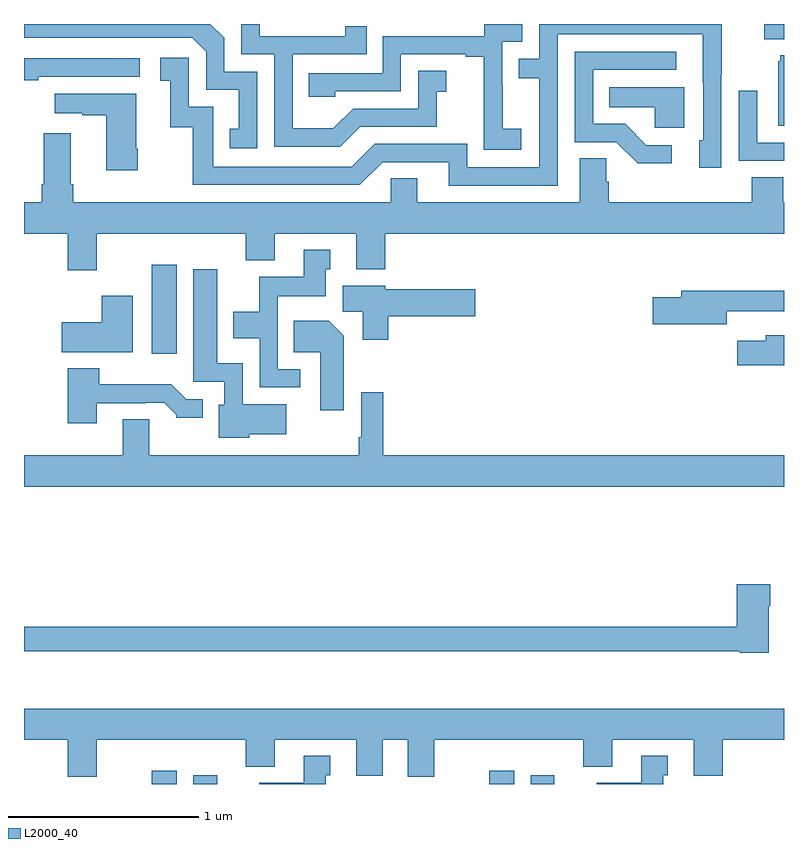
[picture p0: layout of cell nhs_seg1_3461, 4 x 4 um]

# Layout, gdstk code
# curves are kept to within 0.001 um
import gdstk
lib = gdstk.Library(unit=1e-6, precision=1e-09)
def R(c, l, rs):  # rectangles x0, y0, x1, y1
    for r in rs: c.add(gdstk.rectangle(r[:2], r[2:], *l))
def P(c, l, *ps):  # polygons
    for p in ps: c.add(gdstk.Polygon(p, *l))
L2000_40 = (2000, 40)

nhs_seg1_3461 = lib.new_cell('nhs_seg1_3461')
R(nhs_seg1_3461, L2000_40, [(299.672,518.199,299.803,518.269), (299.891,518.199,300.016,518.245), (301.448,518.199,301.579,518.269), (301.667,518.199,301.792,518.245), (299.672,520.464,299.803,520.933), (302.897,522.119,303,522.199)])
P(nhs_seg1_3461, L2000_40, [(301.618,521.647),(301.52,521.647),(301.52,521.876),(301.518,521.876),(301.518,522.105),(301.623,522.105),(301.623,522.199),(301.422,522.199),(301.422,522.135),(300.888,522.135),(300.888,521.94),(300.499,521.94),(300.499,521.817),(300.639,521.817),(300.639,521.844),(300.984,521.844),(300.984,522.039),(301.325,522.039),(301.325,522.027),(301.421,522.027),(301.421,521.743),(301.42,521.743),(301.42,521.537),(301.618,521.537)],
  [(301.809,522.144),(302.573,522.144),(302.574,521.586),(302.555,521.586),(302.555,521.442),(302.67,521.442),(302.67,521.935),(302.673,521.935),(302.673,522.199),(301.713,522.199),(301.713,522.015),(301.603,522.015),(301.603,521.914),(301.713,521.914),(301.713,521.445),(301.332,521.445),(301.332,521.568),(300.846,521.568),(300.726,521.448),(299.997,521.448),(299.997,521.763),(299.868,521.763),(299.868,522.022),(299.718,522.022),(299.718,521.901),(299.771,521.901),(299.771,521.655),(299.889,521.655),(299.889,521.352),(300.768,521.352),(300.888,521.472),(301.235,521.472),(301.235,521.349),(301.809,521.349)],
  [(300.228,521.949),(300.054,521.949),(300.054,522.126),(299.981,522.199),(299,522.199),(299,522.126),(299.886,522.126),(299.958,522.054),(299.958,521.853),(300.131,521.853),(300.131,521.649),(300.082,521.649),(300.082,521.544),(300.228,521.544)],
  [(300.769,521.658),(301.173,521.658),(301.173,521.843),(301.222,521.843),(301.222,521.953),(301.074,521.953),(301.074,521.754),(300.732,521.754),(300.628,521.65),(300.414,521.65),(300.414,522.039),(300.803,522.039),(300.803,522.187),(300.692,522.187),(300.692,522.135),(300.241,522.135),(300.241,522.199),(300.144,522.199),(300.144,522.039),(300.318,522.039),(300.318,521.553),(300.664,521.553)],
  [(302.41,521.562),(302.275,521.562),(302.164,521.673),(301.995,521.673),(301.995,521.958),(302.434,521.958),(302.434,522.054),(301.899,522.054),(301.899,521.577),(302.118,521.577),(302.231,521.465),(302.41,521.465)],
  [(303,522.034),(302.981,522.034),(302.981,522.003),(302.969,522.003),(302.969,521.663),(303,521.663)],
  [(299.075,521.922),(299.608,521.922),(299.608,522.018),(299,522.018),(299,521.902),(299.075,521.902)],
  [(302.476,521.866),(302.08,521.866),(302.08,521.762),(302.319,521.762),(302.319,521.654),(302.476,521.654)],
  [(303,521.574),(302.859,521.574),(302.859,521.847),(302.763,521.847),(302.763,521.478),(303,521.478)],
  [(299.598,521.542),(299.59,521.542),(299.59,521.833),(299.163,521.833),(299.163,521.729),(299.306,521.729),(299.306,521.719),(299.432,521.719),(299.432,521.43),(299.598,521.43)],
  [(299.383,521.096),(300.167,521.096),(300.167,520.955),(300.319,520.955),(300.319,521.096),(300.749,521.096),(300.749,520.907),(300.902,520.907),(300.902,521.096),(303,521.096),(303,521.26),(302.996,521.26),(302.996,521.393),(302.831,521.393),(302.831,521.26),(302.078,521.26),(302.078,521.369),(302.064,521.369),(302.064,521.492),(301.925,521.492),(301.925,521.26),(301.069,521.26),(301.069,521.387),(300.93,521.387),(300.93,521.26),(299.258,521.26),(299.258,521.356),(299.245,521.356),(299.245,521.623),(299.105,521.623),(299.105,521.356),(299.093,521.356),(299.093,521.26),(299,521.26),(299,521.096),(299.231,521.096),(299.231,520.902),(299.383,520.902)],
  [(300.454,520.383),(300.336,520.383),(300.336,520.766),(300.589,520.766),(300.589,520.908),(300.613,520.908),(300.613,521.011),(300.473,521.011),(300.473,520.87),(300.238,520.87),(300.238,520.684),(300.101,520.684),(300.101,520.544),(300.24,520.544),(300.24,520.287),(300.454,520.287)],
  [(300.186,520.04),(300.379,520.04),(300.379,520.198),(300.15,520.198),(300.15,520.414),(300.016,520.414),(300.016,520.909),(299.891,520.909),(299.891,520.317),(300.054,520.317),(300.054,520.194),(300.026,520.194),(300.026,520.022),(300.186,520.022)],
  [(300.917,520.661),(301.375,520.661),(301.375,520.803),(300.9,520.803),(300.9,520.822),(300.677,520.822),(300.677,520.684),(300.782,520.684),(300.782,520.536),(300.917,520.536)],
  [(302.698,520.686),(303,520.686),(303,520.795),(302.459,520.795),(302.459,520.761),(302.31,520.761),(302.31,520.619),(302.698,520.619)],
  [(299.572,520.77),(299.408,520.77),(299.408,520.63),(299.199,520.63),(299.199,520.472),(299.572,520.472)],
  [(300.682,520.558),(300.604,520.636),(300.421,520.636),(300.421,520.472),(300.56,520.472),(300.56,520.167),(300.682,520.167)],
  [(303,520.56),(302.903,520.56),(302.903,520.531),(302.754,520.531),(302.754,520.402),(303,520.402)],
  [(299.383,520.203),(299.639,520.203),(299.639,520.206),(299.738,520.206),(299.802,520.142),(299.802,520.127),(299.941,520.127),(299.941,520.224),(299.853,520.224),(299.775,520.303),(299.396,520.303),(299.396,520.387),(299.231,520.387),(299.231,520.097),(299.383,520.097)],
  [(303,519.928),(300.89,519.928),(300.89,520.261),(300.774,520.261),(300.774,520.024),(300.762,520.024),(300.762,519.928),(299.659,519.928),(299.659,520.118),(299.519,520.118),(299.519,519.928),(299,519.928),(299,519.764),(303,519.764)],
  [(302.92,519.137),(302.928,519.137),(302.928,519.25),(302.75,519.25),(302.75,519.026),(299,519.026),(299,518.898),(302.766,518.898),(302.766,518.89),(302.92,518.89)],
  [(299.383,518.432),(300.167,518.432),(300.167,518.291),(300.319,518.291),(300.319,518.432),(300.749,518.432),(300.749,518.243),(300.889,518.243),(300.889,518.432),(301.019,518.432),(301.019,518.238),(301.159,518.238),(301.159,518.432),(301.943,518.432),(301.943,518.291),(302.095,518.291),(302.095,518.432),(302.525,518.432),(302.525,518.243),(302.678,518.243),(302.678,518.432),(303,518.432),(303,518.596),(299,518.596),(299,518.432),(299.231,518.432),(299.231,518.238),(299.383,518.238)],
  [(302.365,518.244),(302.389,518.244),(302.389,518.347),(302.249,518.347),(302.249,518.206),(302.014,518.206),(302.014,518.199),(302.365,518.199)],
  [(300.589,518.244),(300.613,518.244),(300.613,518.347),(300.473,518.347),(300.473,518.206),(300.238,518.206),(300.238,518.199),(300.589,518.199)])

lib.write_gds('nhs_seg1_3461.gds')
